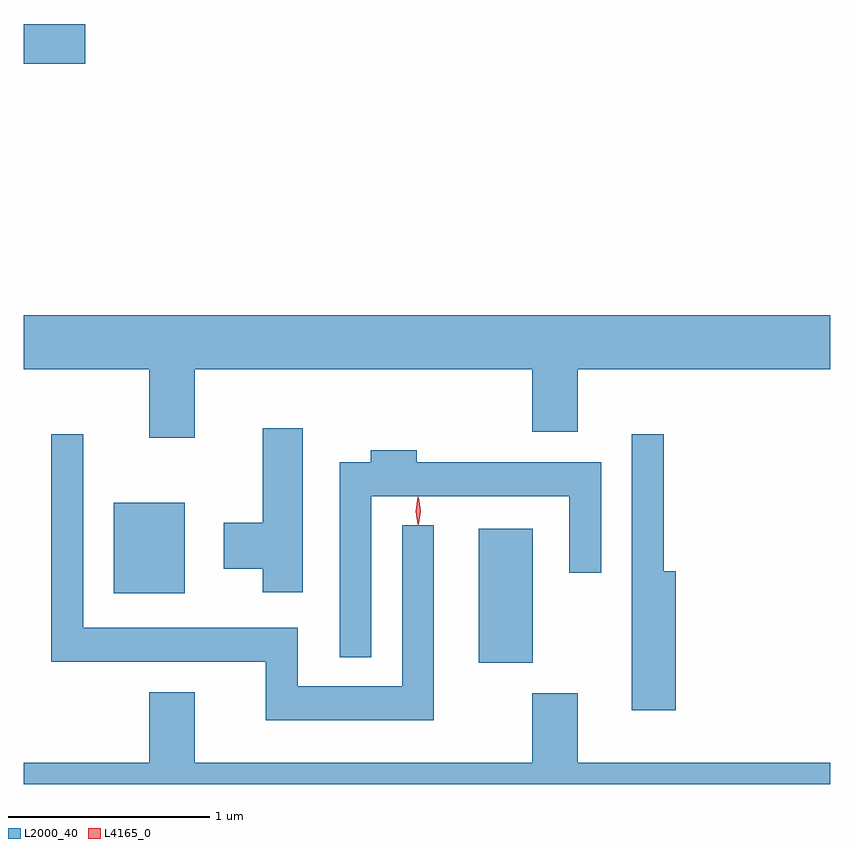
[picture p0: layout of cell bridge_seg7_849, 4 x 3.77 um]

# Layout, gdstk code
import gdstk
lib = gdstk.Library(unit=1e-6, precision=1e-09)
def R(c, l, rs):  # rectangles x0, y0, x1, y1
    for r in rs: c.add(gdstk.rectangle(r[:2], r[2:], *l))
def P(c, l, *ps):  # polygons
    for p in ps: c.add(gdstk.Polygon(p, *l))
L2000_40 = (2000, 40)
L4165_0 = (4165, 0)

bridge_seg7_849 = lib.new_cell('bridge_seg7_849')
R(bridge_seg7_849, L2000_40, [(317.746,1684.001,318.014,1684.664), (315.936,1684.346,316.289,1684.794), (315.49,1686.971,315.794,1687.169)])
P(bridge_seg7_849, L2000_40, [(316.339,1685.456),(318.011,1685.456),(318.011,1685.146),(318.239,1685.146),(318.239,1685.456),(319.49,1685.456),(319.49,1685.724),(315.49,1685.724),(315.49,1685.456),(316.111,1685.456),(316.111,1685.116),(316.339,1685.116)],
  [(316.874,1685.164),(316.676,1685.164),(316.676,1684.694),(316.481,1684.694),(316.481,1684.466),(316.676,1684.466),(316.676,1684.351),(316.874,1684.351)],
  [(318.724,1684.454),(318.664,1684.454),(318.664,1685.133),(318.506,1685.133),(318.506,1683.766),(318.724,1683.766)],
  [(317.524,1684.683),(317.366,1684.683),(317.366,1683.884),(316.849,1683.884),(316.849,1684.174),(315.784,1684.174),(315.784,1685.133),(315.626,1685.133),(315.626,1684.006),(316.691,1684.006),(316.691,1683.716),(317.524,1683.716)],
  [(317.214,1684.826),(318.196,1684.826),(318.196,1684.448),(318.354,1684.448),(318.354,1684.994),(317.439,1684.994),(317.439,1685.054),(317.211,1685.054),(317.211,1684.994),(317.056,1684.994),(317.056,1684.028),(317.214,1684.028)],
  [(319.49,1683.504),(318.239,1683.504),(318.239,1683.849),(318.011,1683.849),(318.011,1683.504),(316.339,1683.504),(316.339,1683.854),(316.111,1683.854),(316.111,1683.504),(315.49,1683.504),(315.49,1683.399),(319.49,1683.399)])
P(bridge_seg7_849, L4165_0, [(317.444,1684.684),(317.435,1684.753),(317.444,1684.823),(317.445,1684.823),(317.445,1684.823),(317.455,1684.753),(317.445,1684.684),(317.445,1684.684)],
  [(317.447,1684.687),(317.438,1684.754),(317.447,1684.82),(317.448,1684.821),(317.448,1684.82),(317.458,1684.754),(317.448,1684.687),(317.448,1684.687)])

lib.write_gds('bridge_seg7_849.gds')
